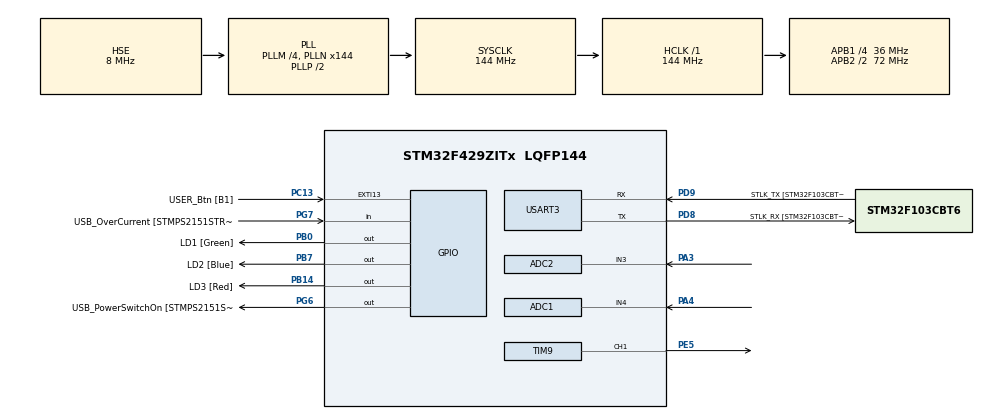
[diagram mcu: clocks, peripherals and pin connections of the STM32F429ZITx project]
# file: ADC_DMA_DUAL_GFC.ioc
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ADC1.Channel-1\#ChannelRegularConversion=ADC_CHANNEL_4
ADC1.ClockPrescaler=ADC_CLOCK_SYNC_PCLK_DIV2
ADC1.ContinuousConvMode=DISABLE
ADC1.DMAContinuousRequests=ENABLE
ADC1.DiscontinuousConvMode=DISABLE
ADC1.EOCSelection=ADC_EOC_SEQ_CONV
ADC1.EnableAnalogWatchDog=false
ADC1.ExternalTrigConv=ADC_EXTERNALTRIGCONV_T3_TRGO
ADC1.InjNumberOfConversion=0
ADC1.Mode=ADC_DUALMODE_REGSIMULT
ADC1.NbrOfConversion=1
ADC1.NbrOfConversionFlag=1
ADC1.Rank-1\#ChannelRegularConversion=1
ADC1.SamplingTime-1\#ChannelRegularConversion=ADC_SAMPLETIME_3CYCLES
ADC1.ScanConvMode=DISABLE
ADC1.master=1
ADC2.Channel-1\#ChannelRegularConversion=ADC_CHANNEL_3
ADC2.DMAContinuousRequests=ENABLE
ADC2.DataAlign=ADC_DATAALIGN_RIGHT
ADC2.EOCSelection=ADC_EOC_SEQ_CONV
ADC2.Mode=ADC_DUALMODE_REGSIMULT
ADC2.NbrOfConversionFlag=1
ADC2.Rank-1\#ChannelRegularConversion=1
ADC2.SamplingTime-1\#ChannelRegularConversion=ADC_SAMPLETIME_3CYCLES
Dma.ADC1.0.Direction=DMA_PERIPH_TO_MEMORY
Dma.ADC1.0.FIFOMode=DMA_FIFOMODE_DISABLE
Dma.ADC1.0.Instance=DMA2_Stream0
Dma.ADC1.0.MemDataAlignment=DMA_MDATAALIGN_WORD
Dma.ADC1.0.MemInc=DMA_MINC_ENABLE
Dma.ADC1.0.Mode=DMA_CIRCULAR
Dma.ADC1.0.PeriphDataAlignment=DMA_PDATAALIGN_WORD
Dma.ADC1.0.PeriphInc=DMA_PINC_DISABLE
Dma.ADC1.0.Priority=DMA_PRIORITY_VERY_HIGH
Dma.ADC2.1.Direction=DMA_PERIPH_TO_MEMORY
Dma.ADC2.1.FIFOMode=DMA_FIFOMODE_DISABLE
Dma.ADC2.1.Instance=DMA2_Stream2
Dma.ADC2.1.MemDataAlignment=DMA_MDATAALIGN_WORD
Dma.ADC2.1.MemInc=DMA_MINC_ENABLE
Dma.ADC2.1.Mode=DMA_CIRCULAR
Dma.ADC2.1.PeriphDataAlignment=DMA_PDATAALIGN_WORD
Dma.ADC2.1.PeriphInc=DMA_PINC_DISABLE
Dma.ADC2.1.Priority=DMA_PRIORITY_HIGH
Dma.Request0=ADC1
Dma.Request1=ADC2
Mcu.Family=STM32F4
Mcu.Name=STM32F429ZITx
Mcu.Package=LQFP144
NVIC.ADC_IRQn=true\:0\:0\:false\:false\:true\:true\:true\:true
NVIC.DMA2_Stream0_IRQn=true\:0\:0\:false\:false\:true\:false\:true\:true
NVIC.DMA2_Stream2_IRQn=true\:0\:0\:false\:false\:true\:false\:true\:true
NVIC.PriorityGroup=NVIC_PRIORITYGROUP_4
PA0/WKUP.Signal=S_TIM5_CH1
PA1.GPIO_Label=RMII_REF_CLK [LAN8742A-CZ-TR_REFCLK0]
PA1.Signal=ETH_REF_CLK
PA10.GPIO_Label=USB_ID
PA10.Signal=USB_OTG_FS_ID
PA11.GPIO_Label=USB_DM
PA11.Signal=USB_OTG_FS_DM
PA12.GPIO_Label=USB_DP
PA12.Signal=USB_OTG_FS_DP
PA13.GPIO_Label=TMS
PA13.Mode=Serial_Wire
PA13.Signal=SYS_JTMS-SWDIO
PA14.GPIO_Label=TCK
PA14.Mode=Serial_Wire
PA14.Signal=SYS_JTCK-SWCLK
PA2.GPIO_Label=RMII_MDIO [LAN8742A-CZ-TR_MDIO]
PA2.Signal=ETH_MDIO
PA3.Signal=ADCx_IN3
PA4.Signal=ADCx_IN4
PA7.GPIO_Label=RMII_CRS_DV [LAN8742A-CZ-TR_CRS_DV]
PA7.Signal=ETH_CRS_DV
PA8.GPIO_Label=USB_SOF [TP1]
PA8.Signal=USB_OTG_FS_SOF
PA9.GPIO_Label=USB_VBUS
PA9.Signal=USB_OTG_FS_VBUS
PB0.GPIO_Label=LD1 [Green]
PB0.Signal=GPIO_Output
PB13.GPIO_Label=RMII_TXD1 [LAN8742A-CZ-TR_TXD1]
PB13.Signal=ETH_TXD1
PB14.GPIO_Label=LD3 [Red]
PB14.Signal=GPIO_Output
PB7.GPIO_Label=LD2 [Blue]
PB7.Signal=GPIO_Output
PC1.GPIO_Label=RMII_MDC [LAN8742A-CZ-TR_MDC]
PC1.Signal=ETH_MDC
PC13.GPIO_Label=USER_Btn [B1]
PC13.Signal=GPXTI13
PC14/OSC32_IN.Mode=LSE-External-Oscillator
PC14/OSC32_IN.Signal=RCC_OSC32_IN
PC15/OSC32_OUT.Mode=LSE-External-Oscillator
PC15/OSC32_OUT.Signal=RCC_OSC32_OUT
PC4.GPIO_Label=RMII_RXD0 [LAN8742A-CZ-TR_RXD0]
PC4.Signal=ETH_RXD0
PC5.GPIO_Label=RMII_RXD1 [LAN8742A-CZ-TR_RXD1]
PC5.Signal=ETH_RXD1
PD8.GPIO_Label=STLK_RX [STM32F103CBT6_PA3]
PD8.Mode=Asynchronous
PD8.Signal=USART3_TX
PD9.GPIO_Label=STLK_TX [STM32F103CBT6_PA2]
PD9.Mode=Asynchronous
PD9.Signal=USART3_RX
PE5.Signal=S_TIM9_CH1
PG11.GPIO_Label=RMII_TX_EN [LAN8742A-CZ-TR_TXEN]
PG11.Signal=ETH_TX_EN
PG13.GPIO_Label=RMII_TXD0 [LAN8742A-CZ-TR_TXD0]
PG13.Signal=ETH_TXD0
PG6.GPIO_Label=USB_PowerSwitchOn [STMPS2151STR_EN]
PG6.Signal=GPIO_Output
PG7.GPIO_Label=USB_OverCurrent [STMPS2151STR_FAULT]
PG7.Signal=GPIO_Input
PH0/OSC_IN.GPIO_Label=MCO [STM32F103CBT6_PA8]
PH0/OSC_IN.Mode=HSE-External-Oscillator
PH0/OSC_IN.Signal=RCC_OSC_IN
PH1/OSC_OUT.Mode=HSE-External-Oscillator
PH1/OSC_OUT.Signal=RCC_OSC_OUT
ProjectManager.HeapSize=0x200
ProjectManager.StackSize=0x400
ProjectManager.TargetToolchain=STM32CubeIDE
RCC.48MHZClocksFreq_Value=41142857.14285714
RCC.AHBFreq_Value=144000000
RCC.APB1CLKDivider=RCC_HCLK_DIV4
RCC.APB1Freq_Value=36000000
RCC.APB1TimFreq_Value=72000000
RCC.APB2CLKDivider=RCC_HCLK_DIV2
RCC.APB2Freq_Value=72000000
RCC.APB2TimFreq_Value=144000000
RCC.CortexFreq_Value=144000000
RCC.HCLKFreq_Value=144000000
RCC.HSE_VALUE=8000000
RCC.HSI_VALUE=16000000
RCC.PLLM=4
RCC.PLLMUL=RCC_PLL_MUL9
RCC.PLLN=144
RCC.PLLQ=7
RCC.PLLSourceVirtual=RCC_PLLSOURCE_HSE
RCC.PRESCALERUSB=RCC_USBCLKSOURCE_PLL_DIV1_5
RCC.SYSCLKFreq_VALUE=144000000
RCC.SYSCLKSource=RCC_SYSCLKSOURCE_PLLCLK
RCC.SYSCLKSourceVirtual=RCC_SYSCLKSOURCE_PLLCLK
RCC.USBFreq_Value=48000000
RCC.VCOOutputFreq_Value=288000000
SH.ADCx_IN3.0=ADC2_IN3,IN3
SH.ADCx_IN4.0=ADC1_IN4,IN4
SH.S_TIM5_CH1.0=TIM5_CH1
SH.S_TIM9_CH1.0=TIM9_CH1,PWM Generation1 CH1
TIM3.AutoReloadPreload=TIM_AUTORELOAD_PRELOAD_ENABLE
TIM3.Period=5
TIM3.Prescaler=5
TIM3.TIM_MasterOutputTrigger=TIM_TRGO_UPDATE
TIM5.AutoReloadPreload=TIM_AUTORELOAD_PRELOAD_ENABLE
TIM5.Prescaler=71
TIM9.AutoReloadPreload=TIM_AUTORELOAD_PRELOAD_ENABLE
TIM9.Channel-PWM\ Generation1\ CH1=TIM_CHANNEL_1
TIM9.Period=19
TIM9.Prescaler=143
TIM9.Pulse-PWM\ Generation1\ CH1=10
USART3.VirtualMode=VM_ASYNC
VP_TIM3_VS_ClockSourceINT.Mode=Internal
VP_TIM5_VS_ClockSourceINT.Mode=Internal
VP_TIM9_VS_ClockSourceINT.Mode=Internal
board=NUCLEO-F429ZI

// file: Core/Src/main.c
/* USER CODE BEGIN Header */
/**
  ******************************************************************************
  * @file           : main.c
  * @brief          : Ejemplo de ADC dual con DMA
  ******************************************************************************
  *
  * El ejemplo se desarrolló en base a:
  * https://deepbluembedded.com/stm32-adc-read-example-dma-interrupt-polling/
  *
  ******************************************************************************
  */
/* USER CODE END Header */
#include "main.h"
#include "adc.h"
#include "dma.h"
#include "tim.h"
#include "usart.h"
#include "gpio.h"

/* USER CODE BEGIN Includes */
#include "uOSAL.h" // Modulo en desarrollo

/* USER CODE END Includes */

/* USER CODE BEGIN PM */
#define DELTA       150
#define MUESTRAS    140
#define PREMUESTRAS 60
#define PREDESCARTE 40
#define NIVEL       1500
#define HISTERESIS  20
#define N_CAPTURAS  16

/* USER CODE END PM */

/* USER CODE BEGIN PV */
uint32_t ADC_CONVERTIDO [ MUESTRAS ] = {0};
uint32_t ADC_SUMA       [ MUESTRAS ] = {0};
uint8_t  ADC_CANTIDAD   [ MUESTRAS ] = {0};
float    PROMEDIO = 0;
float    PROMEDIO_TOTAL = 0;
volatile uint32_t Num_Conversiones = 0;
bool     Escribimos = false;
bool     Nueva_Lectura = false;
uint32_t Tiempo_us = 0;

/* USER CODE END PV */

void SystemClock_Config(void);
/* USER CODE BEGIN PFP */
void EscribirDatos(uint32_t);
void EscribirPromedio (void);
void PromediarConDisparo(void);

/* USER CODE END PFP */

int main(void)
{

  /* MCU Configuration--------------------------------------------------------*/

  /* Reset of all peripherals, Initializes the Flash interface and the Systick. */
  HAL_Init();

  /* Configure the system clock */
  SystemClock_Config();

  /* Initialize all configured peripherals */
  MX_GPIO_Init();
  MX_DMA_Init();
  MX_USART3_UART_Init();
  MX_ADC1_Init();
  MX_TIM3_Init();
  MX_ADC2_Init();
  MX_TIM9_Init();
  MX_TIM5_Init();
  /* USER CODE BEGIN 2 */
  //-----------------------------------------------------------------------------------------------
  uOSALinicializar ();

  uEscribirTexto ("\n\r\n\r");
  uEscribirTexto ("============================================================\n\r");
  uEscribirTexto ("ADC dual con DMA (abril 2024)\n\r");
  uEscribirTexto ("============================================================\n\r");

  HAL_TIM_PWM_Start(&htim9, TIM_CHANNEL_1); // Señal cuadrada en PE5
                                            // TIM9->CCR1 = ... ya está seteado en CT = 50% :-)

  Tiempo_us = uOSALmicrosegundos();         // Leo inicio de conteo en us.

  //HAL_ADC_Start_DMA(&hadc1, (uint32_t *) ADC_CONVERTIDO, MUESTRAS);  <-- Esto sería para DMA mono.

  // Inicializo primero ADC secundario,
  // luego el principal
  // y finalmente la base de tiempo:
  HAL_ADC_Start (&hadc2);
  HAL_ADCEx_MultiModeStart_DMA (&hadc1, (uint32_t *) ADC_CONVERTIDO, MUESTRAS);
  HAL_TIM_Base_Start(&htim3); // Start Timer3 (Trigger Source For ADC1)

  //-----------------------------------------------------------------------------------------------
  /* USER CODE END 2 */

  /* Infinite loop */
  while (1)
  {

    /* USER CODE BEGIN 3 */
	//---------------------------------------------------------------------------------------------

	if ( (uOSALmicrosegundos () - Tiempo_us > 2e6) && (Num_Conversiones <  N_CAPTURAS) ) {
	  // Si pasó medio segundo, muestro qué tengo:
	  uEscribirTexto ("Sobretiempo... \n\r");
	  Nueva_Lectura = true;
	  Num_Conversiones = N_CAPTURAS;
	}

	if (Nueva_Lectura ) {
	  Nueva_Lectura = false;

	  // Promediamos muestra a muestra
	  PromediarConDisparo();
	  //EscribirDatos (Num_Conversiones);

	  if ( Num_Conversiones <  N_CAPTURAS ) {
		 // Lanzo nuevo muestreo:
		 //HAL_ADC_Start (&hadc2);
	    //HAL_ADCEx_MultiModeStart_DMA (&hadc1, (uint32_t *) ADC_CONVERTIDO, MUESTRAS );
	    HAL_TIM_Base_Start(&htim3);
	  }

	  if ( Num_Conversiones == N_CAPTURAS ) {
		Tiempo_us = uOSALmicrosegundos() - Tiempo_us;
		EscribirPromedio ();
		uEscribirTextoEnteroSS ("Tardamos ", Tiempo_us);
		uEscribirTexto (" us. \n\r");
	  }
	}
  }
  //-----------------------------------------------------------------------------------------------
  /* USER CODE END 3 */
}

void SystemClock_Config(void)
{
  RCC_OscInitTypeDef RCC_OscInitStruct = {0};
  RCC_ClkInitTypeDef RCC_ClkInitStruct = {0};

  /** Configure the main internal regulator output voltage
  */
  __HAL_RCC_PWR_CLK_ENABLE();
  __HAL_PWR_VOLTAGESCALING_CONFIG(PWR_REGULATOR_VOLTAGE_SCALE1);

  /** Initializes the RCC Oscillators according to the specified parameters
  * in the RCC_OscInitTypeDef structure.
  */
  RCC_OscInitStruct.OscillatorType = RCC_OSCILLATORTYPE_HSE;
  RCC_OscInitStruct.HSEState = RCC_HSE_ON;
  RCC_OscInitStruct.PLL.PLLState = RCC_PLL_ON;
  RCC_OscInitStruct.PLL.PLLSource = RCC_PLLSOURCE_HSE;
  RCC_OscInitStruct.PLL.PLLM = 4;
  RCC_OscInitStruct.PLL.PLLN = 144;
  RCC_OscInitStruct.PLL.PLLP = RCC_PLLP_DIV2;
  RCC_OscInitStruct.PLL.PLLQ = 7;
  if (HAL_RCC_OscConfig(&RCC_OscInitStruct) != HAL_OK)
  {
    Error_Handler();
  }

  /** Initializes the CPU, AHB and APB buses clocks
  */
  RCC_ClkInitStruct.ClockType = RCC_CLOCKTYPE_HCLK|RCC_CLOCKTYPE_SYSCLK
                              |RCC_CLOCKTYPE_PCLK1|RCC_CLOCKTYPE_PCLK2;
  RCC_ClkInitStruct.SYSCLKSource = RCC_SYSCLKSOURCE_PLLCLK;
  RCC_ClkInitStruct.AHBCLKDivider = RCC_SYSCLK_DIV1;
  RCC_ClkInitStruct.APB1CLKDivider = RCC_HCLK_DIV4;
  RCC_ClkInitStruct.APB2CLKDivider = RCC_HCLK_DIV2;

  if (HAL_RCC_ClockConfig(&RCC_ClkInitStruct, FLASH_LATENCY_4) != HAL_OK)
  {
    Error_Handler();
  }
}

/* USER CODE BEGIN 4 */

void HAL_ADC_ErrorCallback(ADC_HandleTypeDef *hadc)
{
	uOSALledEncender ( UOSAL_PIN_LED_ROJO_INCORPORADO );
	uEscribirTexto ("Error de ADC... :-(\n\r");
}

void HAL_ADC_ConvCpltCallback(ADC_HandleTypeDef* hadc)
{
	/*__HAL_TIM_DISABLE(&htim3);
	htim3.State = HAL_TIM_STATE_READY;*/
	HAL_TIM_Base_Stop(&htim3); // Paramos base de tiempo de muestreo (aunque no es imprescindible)

	//HAL_ADCEx_MultiModeStop_DMA (&hadc1);
	//HAL_ADC_Stop (&hadc2);

	Num_Conversiones++;
	Nueva_Lectura = true;
	uOSALledEncender ( UOSAL_PIN_LED_VERDE_INCORPORADO );
}

void HAL_ADC_ConvHalfCpltCallback(ADC_HandleTypeDef* hadc)
{
	//HAL_GPIO_WritePin(GPIOB, GPIO_PIN_0, GPIO_PIN_SET);
}

void PromediarConDisparo(void)
{
	bool bajo=true;
	int inicio = 0;
	int final  = MUESTRAS;

	// Evalúo si la señal inicia por encima del nivel buscado:
	// (aplico máscada de ADC1)
	if ( ( ADC_CONVERTIDO[PREDESCARTE]&0xFFFF ) >= NIVEL) bajo = false;

	for (int disparo=PREDESCARTE; disparo<MUESTRAS; disparo++) {

		// Supondremos por ahora siempre flanco de subida
		if ( bajo && ( (ADC_CONVERTIDO[disparo]&0xFFFF) >= NIVEL ) ) {

    		if ( disparo > PREMUESTRAS ) {
    			// No puedo cargar todas las muestras anteriores
    			inicio = disparo - PREMUESTRAS;
    			inicio = (inicio < PREDESCARTE) ? inicio : PREDESCARTE;
    		}

            if ( disparo < PREMUESTRAS ) {
            	final = MUESTRAS + disparo - PREMUESTRAS;
            }

	    	// Hubo disparo!!! :-)
	    	for (int i=inicio; i<final; i++) {
	    		// Acá se supone que suma por separado ambos ADC. Muestras a promediar deben ser igual o menor a 16.
	    		ADC_SUMA     [ PREMUESTRAS + i - disparo] = ADC_SUMA [ PREMUESTRAS + i - disparo] + ADC_CONVERTIDO[i];
	    		ADC_CANTIDAD [ PREMUESTRAS + i - disparo] ++;
	    	}
	    	disparo = MUESTRAS;
	    	uEscribirTextoEnteroSS ("Promediada muestra #", Num_Conversiones);
	    	uEscribirTexto ("\n\r");
	    }

	    // Esto es por si empezó alto
	    if ( (ADC_CONVERTIDO[disparo]&0xFFFF) < (NIVEL-HISTERESIS) ) bajo = true;
	}
}

void EscribirDatos(uint32_t Actual)
{
	uint16_t P_ADC1, P_ADC2;
	uint16_t MAXIMO = 0;
	uint16_t MINIMO = 4095;

	// Escribimos última muestra:
	uEscribirTextoEnteroSS ("Lectura # ", Actual);
	uEscribirTexto         ("\n\rADC_1 \tADC_2\n\r");

	for (int i=0; i<MUESTRAS; i++) {

		P_ADC1 = ( ADC_CONVERTIDO [i] & 0x0000FFFF )      ;
		P_ADC2 = ( ADC_CONVERTIDO [i] & 0xFFFF0000 ) >> 16;

		uEscribirEnteroSS ( P_ADC1 );   // Dato de ADC1
		uEscribirTexto 	  ( ";\t");     // Tabulación
		uEscribirEnteroSS ( P_ADC2 );   // Dato ADC2
		uEscribirTexto    ("\n\r");

		MAXIMO = P_ADC1 > MAXIMO ? P_ADC1 : MAXIMO;
		MINIMO = P_ADC1 < MINIMO ? P_ADC1 : MINIMO;

	}
	uEscribirTextoEnteroSS ("\n\rMaximo ultimo = ", MAXIMO);
	uEscribirTextoEnteroSS ("\n\rMinimo ultimo = ", MINIMO);
	uEscribirTexto 		   ("\n\r------------------------------------------------------------------\n\r");
}

void EscribirPromedio (void)
{
	uint16_t P_ADC1, P_ADC2;
	uint16_t MAXIMO = 0;
	uint16_t MINIMO = 4095;

	// Escribimos promedio:
	uEscribirTexto         ("Promedio");
	uEscribirTexto         ("\n\rADC_1 \tADC_2 \tCantidad\n\r");

	for (int i=PREDESCARTE; i<MUESTRAS; i++) {

		if (i==PREMUESTRAS) uEscribirTexto ("Disparo...\n\r");
		P_ADC1 = (( ADC_SUMA [i] & 0x0000FFFF )      ) / ADC_CANTIDAD [i];
		P_ADC2 = (( ADC_SUMA [i] & 0xFFFF0000 ) >> 16) / ADC_CANTIDAD [i];

		uEscribirEnteroSS ( P_ADC1 );
		uEscribirTexto 	  ( ";\t");
		uEscribirEnteroSS ( P_ADC2 );
		uEscribirTexto 	  ( ";\t");
		uEscribirEnteroSS ( ADC_CANTIDAD [i] );
		uEscribirTexto    ( "\n\r");

		MAXIMO = P_ADC1 > MAXIMO ? P_ADC1 : MAXIMO;
		MINIMO = P_ADC1 < MINIMO ? P_ADC1 : MINIMO;

	}
	uEscribirTextoEnteroSS ("\n\rMaximo ultimo = ", MAXIMO);
	uEscribirTextoEnteroSS ("\n\rMinimo ultimo = ", MINIMO);
	uEscribirTexto         (" \n\r------------------------------------------------------------\n\r");
}

/* USER CODE END 4 */

void Error_Handler(void)
{
  __disable_irq();
  while (1)
  {
  }
}
